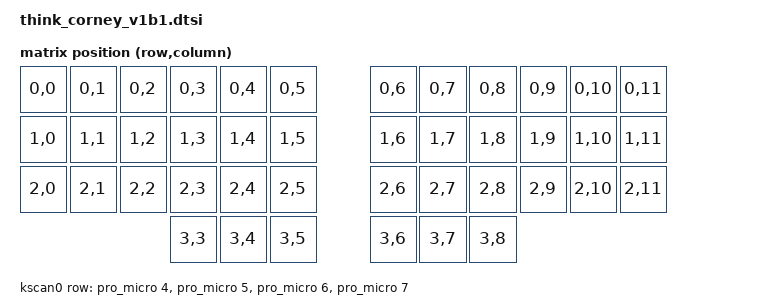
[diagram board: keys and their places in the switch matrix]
#include <dt-bindings/zmk/matrix_transform.h>

/ {
    chosen {
        zmk,kscan = &kscan0;
        zmk,matrix-transform = &default_transform;
    };

    default_transform: keymap_transform_0 {
        compatible = "zmk,matrix-transform";
        columns = <12>;
        rows = <4>;
        map = <
RC(0,0) RC(0,1) RC(0,2) RC(0,3) RC(0,4) RC(0,5)  RC(0,6) RC(0,7) RC(0,8) RC(0,9) RC(0,10) RC(0,11)
RC(1,0) RC(1,1) RC(1,2) RC(1,3) RC(1,4) RC(1,5)  RC(1,6) RC(1,7) RC(1,8) RC(1,9) RC(1,10) RC(1,11)
RC(2,0) RC(2,1) RC(2,2) RC(2,3) RC(2,4) RC(2,5)  RC(2,6) RC(2,7) RC(2,8) RC(2,9) RC(2,10) RC(2,11)
                        RC(3,3) RC(3,4) RC(3,5)  RC(3,6) RC(3,7) RC(3,8)
        >;
    };

    kscan0: kscan {
        compatible = "zmk,kscan-gpio-matrix";

        diode-direction = "col2row";
        row-gpios
            = <&pro_micro 4 (GPIO_ACTIVE_HIGH | GPIO_PULL_DOWN)>
            , <&pro_micro 5 (GPIO_ACTIVE_HIGH | GPIO_PULL_DOWN)>
            , <&pro_micro 6 (GPIO_ACTIVE_HIGH | GPIO_PULL_DOWN)>
            , <&pro_micro 7 (GPIO_ACTIVE_HIGH | GPIO_PULL_DOWN)>
            ;

    };
};

/*
 * PS/2 Mouse / Trackpoint
 */

// Configure the SCL and SDA pins of the PS/2 mouse/tp using the `&pro_micro`
// notation.
//
// If possible, try to choose the blue high frequency pins to avoid
// bluetooth interference.
//
// On the nice!nano documentation these are green DX pins:
// https://nicekeyboards.com/docs/nice-nano/pinout-schematic
//
#define MOUSE_PS2_PIN_SCL_PRO_MICRO <&pro_micro 1 GPIO_ACTIVE_HIGH>
#define MOUSE_PS2_PIN_SDA_PRO_MICRO <&pro_micro 0 GPIO_ACTIVE_HIGH>

// Now configure the same SDA pin using the pinctrl notation.
//
// For that you have to use the PX.XX notation of the nrf52 chip.
//
// On the nice!nano pinout they are shown in blue and purple next to the green
// DX pin.
//
// Enter it like `X, Y` without leading zeroes.
// Examples:
// 		D0 - P0.08: 0, 8
//		D15 - P1.13: 1, 13
//
// We don't define the SCL pin, because UART uses a baud rate instead of
// a clock pin.
#define MOUSE_PS2_PIN_SDA_PINCTRL <NRF_PSEL(UART_RX, 0, 8)>

// In UART two different pins are used for receiving and transmitting, but PS/2
// uses the same pin for both.
//
// The UART config still requires both pins to be configured. So we use one of
// the nrf52 pins that are not exposed on the nice!nano board.
#define MOUSE_PS2_PIN_UNEXPOSED_TX <NRF_PSEL(UART_TX, 0, 27)>
#define MOUSE_PS2_PIN_UNEXPOSED_RX <NRF_PSEL(UART_RX, 0, 28)>
